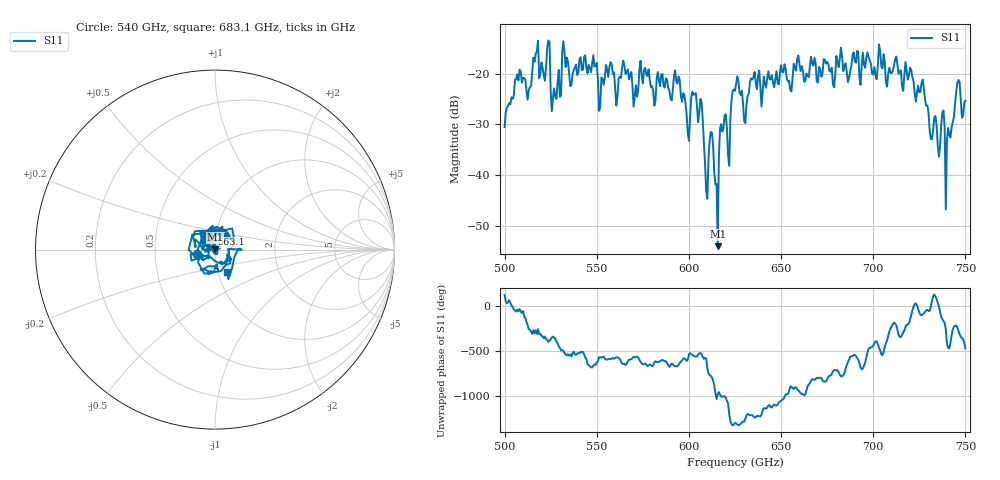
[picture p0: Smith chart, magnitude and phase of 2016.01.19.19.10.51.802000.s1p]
!Created with skrf (http://scikit-rf.org).
# GHz S RI R 50.0
!freq ReS11 ImS11
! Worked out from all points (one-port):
!   401 points, 500 GHz to 750 GHz, reference 50 ohm
!   lowest |S11| = -54.0 dB at 615.6 GHz (marker M1), VSWR 1.00, Z = 50 + j0.199 ohm
!   |S11| at or under -10 dB: start of sweep to end of sweep
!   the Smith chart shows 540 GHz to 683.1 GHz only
!   S11 on the Smith chart (normalised r, x): 540 GHz: 0.82, -0.04; 563.1 GHz: 0.95, +0.17; 683.1 GHz: 1.11, -0.29
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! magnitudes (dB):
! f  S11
! 500 GHz  -30.5
! 513.1 GHz  -23.2
! 516.9 GHz  -16.1
! 523.8 GHz  -13.5
! 526.9 GHz  -22.9
! 531.2 GHz  -15.8
! 540 GHz  -19.8
! 562.5 GHz  -20.6
! 563.1 GHz  -20.8
! 593.8 GHz  -22.0
! 599.4 GHz  -31.7
! 603.1 GHz  -24.0
! 606.9 GHz  -25.7
! 609.4 GHz  -43.2
! 611.9 GHz  -31.5
! 615.6 GHz  -54.0
! 618.1 GHz  -31.4
! 621.9 GHz  -38.1
! 625 GHz  -23.4
! 630.6 GHz  -29.7
! 634.4 GHz  -21.2
! 656.2 GHz  -20.8
! 683.1 GHz  -16.8
! 687.5 GHz  -19.6
! 718.8 GHz  -21.2
! 740.6 GHz  -30.7
! 745.6 GHz  -21.9
! 750 GHz  -25.3
